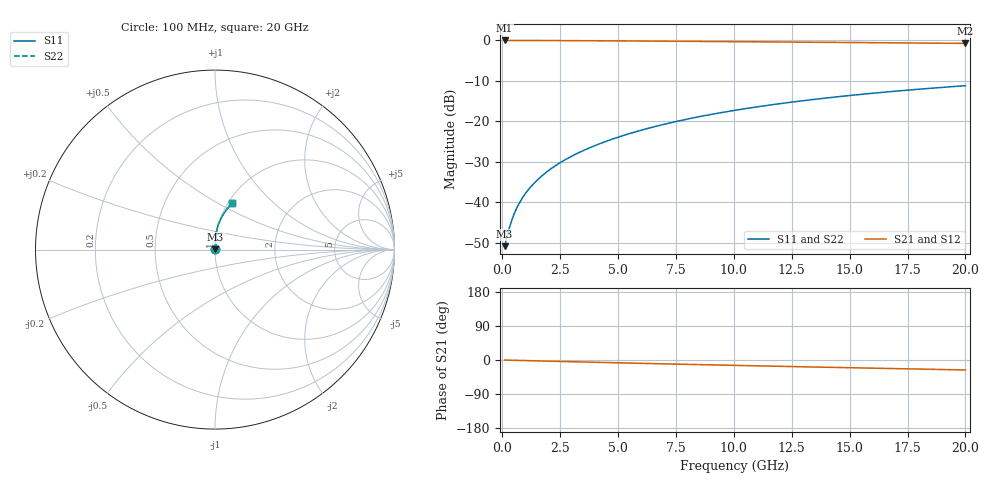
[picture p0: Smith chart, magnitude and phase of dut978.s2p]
! Touchstone file exported from HFSS 2024.1.0
!  File:  C:/UserFiles/LocalFiles/RDL_TSV_Batchsim/temp_RDL_bottom_978_1779943334.aedt
!  Generated:  12:45:05 PM May 28, 2026
!  Design:  RDL_bottom
!  Project:  temp_RDL_bottom_978_1779943334
!  Setup:  Setup1
!  Solution:  Sweep
! Variables:
!  dtsv = 10.80580581um
!  hbump = 3um
!  htsv = 64.98um
!  ldown = 331.79um
!  lrdl = 100um
!  p = 40
!  p1 = 52.94um
!  rhole = 1um
!  t = 450um
!  tdown = 2.27um
!  trdl = 3.915915916um
!  wdown = 23.69um
!  wrdl = 20um
# GHz S MA R 50.000000
! Terminal data exported
! Port[1] = RDL1_T1
! Port[2] = RDL1_T2
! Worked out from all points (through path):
!   200 points, 100 MHz to 20 GHz, reference 50 ohm
!   highest |S21| = -0.02 dB at 100 MHz (marker M1); lowest = -0.7 dB at 20 GHz (marker M2)
!   group delay of S21, straight-line fit = 3.62 ps
!   lowest |S11| = -50.8 dB at 100 MHz (marker M3), VSWR 1.01, Z = 50.3 + j0.134 ohm
!   |S11| at or under -10 dB: start of sweep to end of sweep
!   |S22| runs from -50.8 to -11.2 dB; largest |S21 - S12| = 2e-15
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0.1  0.002872 27.7  0.9974 -0.2  0.9974 -0.2  0.002872 27.7
! Gamma 0 0 0 0
! Port Impedance 50 0 50 0
0.3  0.004764 55.9  0.9973 -0.5  0.9973 -0.5  0.004763 55.9
0.4  0.005893 62.1  0.9971 -0.6  0.9971 -0.6  0.00589 62.1
0.5  0.007045 66.3  0.997 -0.8  0.997 -0.8  0.00704 66.2
0.6  0.008202 69.2  0.9969 -0.9  0.9969 -0.9  0.008194 69.2
0.7  0.009358 71.5  0.9967 -1.1  0.9967 -1.1  0.009349 71.4
0.9  0.01167 74.8  0.9965 -1.4  0.9965 -1.4  0.01166 74.8
1.2  0.01516 78.1  0.996 -1.9  0.996 -1.9  0.01515 78.1
1.4  0.01751 79.7  0.9957 -2.2  0.9957 -2.2  0.0175 79.7
1.7  0.02108 81.5  0.9952 -2.6  0.9952 -2.6  0.02106 81.5
2.2  0.02714 83.5  0.9942 -3.4  0.9942 -3.4  0.02713 83.6
2.8  0.0346 85.1  0.9928 -4.3  0.9928 -4.3  0.0346 85.1
3.5  0.04358 86.1  0.9908 -5.3  0.9908 -5.3  0.04358 86.1
4.2  0.05284 86.6  0.9885 -6.3  0.9885 -6.3  0.05285 86.7
5  0.06373 86.8  0.9856 -7.5  0.9856 -7.5  0.06375 86.8
6.8  0.08922 86.0  0.9783 -10.0  0.9783 -10.0  0.08926 86.1
8.4  0.1126 84.6  0.9714 -12.1  0.9714 -12.1  0.1126 84.6
10.1  0.1376 82.6  0.9639 -14.3  0.9639 -14.3  0.1377 82.7
11.7  0.1611 80.5  0.9567 -16.3  0.9567 -16.3  0.1613 80.6
13.4  0.1858 78.3  0.9489 -18.4  0.9489 -18.4  0.1859 78.3
16.7  0.232 73.8  0.9334 -22.4  0.9334 -22.4  0.2322 73.9
20  0.2756 69.5  0.9174 -26.3  0.9174 -26.3  0.2759 69.6
